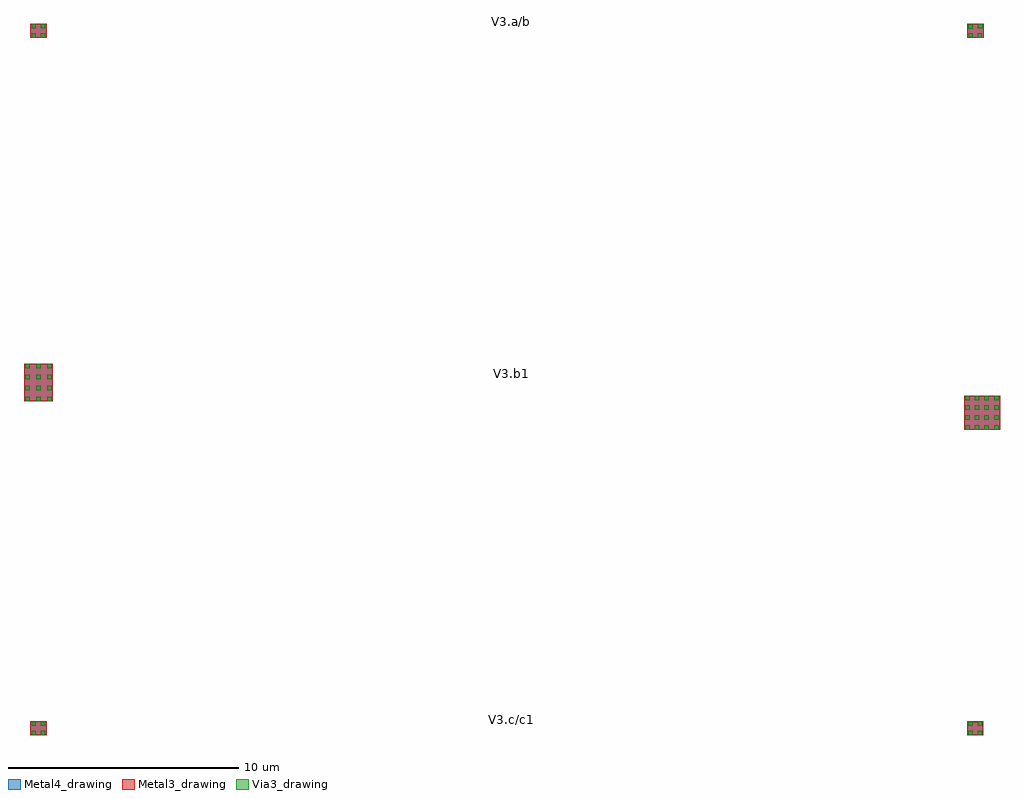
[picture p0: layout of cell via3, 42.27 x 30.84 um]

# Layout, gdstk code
import gdstk
lib = gdstk.Library(unit=1e-6, precision=1e-09)
def R(c, l, rs):  # rectangles x0, y0, x1, y1
    for r in rs: c.add(gdstk.rectangle(r[:2], r[2:], *l))
def A(c, l, x, y, w, h, nx, ny, dx, dy):  # array of equal rectangles
    R(c, l, [(x+i*dx, y+j*dy, x+i*dx+w, y+j*dy+h) for i in range(nx) for j in range(ny)])
Metal3_drawing = (30, 0)
Via3_drawing = (49, 0)
Metal4_drawing = (50, 0)

via3 = lib.new_cell('via3')
R(via3, Metal3_drawing, [(-20.82,-38.155,-20.12,-37.545), (19.76,-38.155,20.455,-37.55), (19.625,-24.92,21.175,-23.435), (-21.095,-23.69,-19.845,-22.05), (-20.82,-7.945,-20.12,-7.335), (19.755,-7.945,20.47,-7.32)])
A(via3, Via3_drawing, 19.675, -24.915, 0.19, 0.19, 3, 3, 0.41, 0.435)
A(via3, Via3_drawing, 20.935, -24.915, 0.19, 0.19, 1, 3, 0, 0.435)
A(via3, Via3_drawing, -21.045, -23.685, 0.19, 0.19, 3, 4, 0.48, 0.48)
A(via3, Via3_drawing, 19.675, -23.63, 0.19, 0.19, 3, 1, 0.41, 0)
R(via3, Via3_drawing, [(-20.77,-38.15,-20.58,-37.96), (-20.36,-38.15,-20.17,-37.96), (19.805,-38.15,19.995,-37.96), (20.215,-38.15,20.405,-37.96), (-20.77,-37.74,-20.58,-37.55), (-20.36,-37.74,-20.17,-37.55), (19.805,-37.74,19.995,-37.55), (20.215,-37.74,20.405,-37.55), (20.935,-23.63,21.125,-23.44), (-20.77,-7.94,-20.58,-7.75), (-20.36,-7.94,-20.17,-7.75), (20.205,-7.94,20.395,-7.75), (19.815,-7.925,19.995,-7.75), (19.805,-7.55,19.995,-7.36), (-20.77,-7.53,-20.58,-7.34), (-20.36,-7.53,-20.17,-7.34), (20.215,-7.53,20.42,-7.325)])
R(via3, Metal4_drawing, [(-20.82,-38.155,-20.12,-37.545), (19.76,-38.155,20.455,-37.545), (19.625,-24.92,21.175,-23.435), (-21.095,-23.69,-19.845,-22.05), (-20.82,-7.945,-20.12,-7.335), (19.755,-7.945,20.47,-7.32)])
via3.add(gdstk.Label('V3.a/b', (0,-7.245), layer=63, texttype=0))
via3.add(gdstk.Label('V3.b1', (0,-22.475), layer=63, texttype=0))
via3.add(gdstk.Label('V3.c/c1', (0,-37.455), layer=63, texttype=0))
via3.add(gdstk.Label('PASS', (-12,5), layer=63, texttype=0))
via3.add(gdstk.Label('FAIL', (12,5), layer=63, texttype=0))
via3.add(gdstk.Label('5.20 Vian', (0,21), layer=63, texttype=0))

lib.write_gds('via3.gds')
